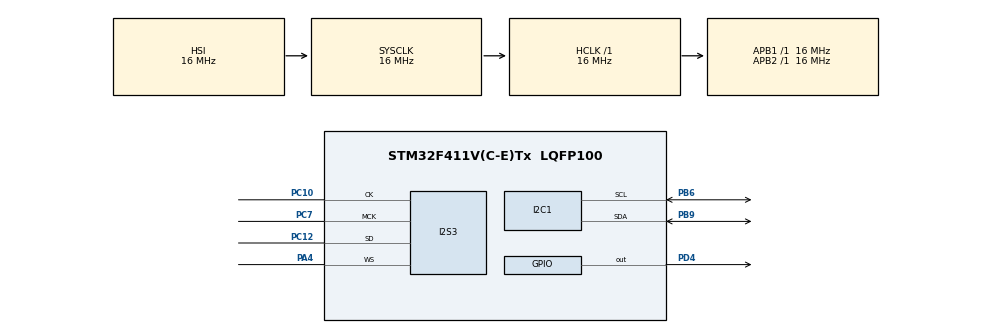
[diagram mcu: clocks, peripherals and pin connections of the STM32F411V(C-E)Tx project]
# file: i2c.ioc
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Dma.Request0=SPI3_TX
Dma.SPI3_TX.0.Direction=DMA_MEMORY_TO_PERIPH
Dma.SPI3_TX.0.FIFOMode=DMA_FIFOMODE_ENABLE
Dma.SPI3_TX.0.FIFOThreshold=DMA_FIFO_THRESHOLD_FULL
Dma.SPI3_TX.0.Instance=DMA1_Stream5
Dma.SPI3_TX.0.MemBurst=DMA_MBURST_SINGLE
Dma.SPI3_TX.0.MemDataAlignment=DMA_MDATAALIGN_HALFWORD
Dma.SPI3_TX.0.MemInc=DMA_MINC_ENABLE
Dma.SPI3_TX.0.Mode=DMA_CIRCULAR
Dma.SPI3_TX.0.PeriphBurst=DMA_PBURST_SINGLE
Dma.SPI3_TX.0.PeriphDataAlignment=DMA_PDATAALIGN_HALFWORD
Dma.SPI3_TX.0.PeriphInc=DMA_PINC_DISABLE
Dma.SPI3_TX.0.Priority=DMA_PRIORITY_LOW
I2S3.AudioFreq=I2S_AUDIOFREQ_48K
I2S3.ErrorAudioFreq=-2.34 %
I2S3.FullDuplexMode=I2S_FULLDUPLEXMODE_DISABLE
I2S3.Instance=SPI$Index
I2S3.RealAudioFreq=46.875 KHz
I2S3.VirtualMode=I2S_MODE_MASTER
Mcu.Family=STM32F4
Mcu.Name=STM32F411V(C-E)Tx
Mcu.Package=LQFP100
NVIC.DMA1_Stream5_IRQn=true\:0\:0\:false\:false\:true\:false\:true\:true
NVIC.PriorityGroup=NVIC_PRIORITYGROUP_4
PA4.Mode=Half_Duplex_Master
PA4.Signal=I2S3_WS
PB6.Mode=I2C
PB6.Signal=I2C1_SCL
PB9.Mode=I2C
PB9.Signal=I2C1_SDA
PC10.Mode=Half_Duplex_Master
PC10.Signal=I2S3_CK
PC12.Mode=Half_Duplex_Master
PC12.Signal=I2S3_SD
PC7.Mode=Master_Clock_Activated
PC7.Signal=I2S3_MCK
PD4.Signal=GPIO_Output
ProjectManager.HeapSize=0x200
ProjectManager.StackSize=0x400
ProjectManager.TargetToolchain=STM32CubeIDE
RCC.AHBFreq_Value=16000000
RCC.APB1Freq_Value=16000000
RCC.APB2Freq_Value=16000000
RCC.CortexFreq_Value=16000000
RCC.HSE_VALUE=25000000
RCC.HSI_VALUE=16000000
RCC.LSE_VALUE=32768
RCC.SYSCLKFreq_VALUE=16000000
RCC.VCOOutputFreq_Value=192000000
board=custom

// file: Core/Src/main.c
/* USER CODE BEGIN Header */
/**
  ******************************************************************************
  * @file           : main.c
  * @brief          : Main program body
  ******************************************************************************
  * @attention
  *
  * Copyright (c) 2023 STMicroelectronics.
  * All rights reserved.
  *
  * This software is licensed under terms that can be found in the LICENSE file
  * in the root directory of this software component.
  * If no LICENSE file comes with this software, it is provided AS-IS.
  *
  ******************************************************************************
  */
/* USER CODE END Header */
#include "main.h"

/* USER CODE BEGIN PTD */
typedef enum
{
	C5,
		D5,
		E5,
		F5,
		G5,
		A5,
		B5,
		C6,
		D6,
		E6,
		F6,
		G6,
		A6,
		B6,
		MAX_VALUE
} soundToneType;

/* USER CODE END PTD */

/* USER CODE BEGIN PD */
#define CS43L22_I2C_ADDRESS	0X94
#define I2C_TIMEOUT 10

/* USER CODE END PD */

I2C_HandleTypeDef hi2c1;

I2S_HandleTypeDef hi2s3;
DMA_HandleTypeDef hdma_spi3_tx;

/* USER CODE BEGIN PV */

int16_t dataI2S[100] = {0};

/* USER CODE END PV */

void SystemClock_Config(void);
static void MX_GPIO_Init(void);
static void MX_DMA_Init(void);
static void MX_I2C1_Init(void);
static void MX_I2S3_Init(void);

/* USER CODE BEGIN 0 */
void CS43L22_Init(void){

	HAL_GPIO_WritePin(GPIOD, GPIO_PIN_4, GPIO_PIN_SET);

	uint8_t TxBuffer[2];

	TxBuffer[0] = 0X0D;
	TxBuffer[1] = 0x01;
	HAL_I2C_Master_Transmit(&hi2c1, CS43L22_I2C_ADDRESS, (uint8_t*) &TxBuffer, 2, I2C_TIMEOUT);

	TxBuffer[0] = 0x00;
	TxBuffer[1] = 0x99;
	HAL_I2C_Master_Transmit(&hi2c1, CS43L22_I2C_ADDRESS, (uint8_t*) &TxBuffer, 2, I2C_TIMEOUT);

	TxBuffer[0] = 0x47;
	TxBuffer[1] = 0x80;
	HAL_I2C_Master_Transmit(&hi2c1, CS43L22_I2C_ADDRESS, (uint8_t*) &TxBuffer, 2, I2C_TIMEOUT);

	TxBuffer[0] = 0x32;
	TxBuffer[1] = 0xFF;
	HAL_I2C_Master_Transmit(&hi2c1, CS43L22_I2C_ADDRESS, (uint8_t*) &TxBuffer, 2, I2C_TIMEOUT);

	TxBuffer[0] = 0x32;
	TxBuffer[1] = 0x7F;
	HAL_I2C_Master_Transmit(&hi2c1, CS43L22_I2C_ADDRESS, (uint8_t*) &TxBuffer, 2, I2C_TIMEOUT);

	TxBuffer[0] = 0x00;
	TxBuffer[1] = 0x00;
	HAL_I2C_Master_Transmit(&hi2c1, CS43L22_I2C_ADDRESS, (uint8_t*) &TxBuffer, 2, I2C_TIMEOUT);

	TxBuffer[0] = 0x04;
	TxBuffer[1] = 0xAF;
	HAL_I2C_Master_Transmit(&hi2c1, CS43L22_I2C_ADDRESS, (uint8_t*) &TxBuffer, 2, I2C_TIMEOUT);

	TxBuffer[0] = 0x0D;
	TxBuffer[1] = 0x70;
	HAL_I2C_Master_Transmit(&hi2c1, CS43L22_I2C_ADDRESS, (uint8_t*) &TxBuffer, 2, I2C_TIMEOUT);

	TxBuffer[0] = 0x05;
	TxBuffer[1] = 0x81;
	HAL_I2C_Master_Transmit(&hi2c1, CS43L22_I2C_ADDRESS, (uint8_t*) &TxBuffer, 2, I2C_TIMEOUT);

	TxBuffer[0] = 0x06;
	TxBuffer[1] = 0x07;
	HAL_I2C_Master_Transmit(&hi2c1, CS43L22_I2C_ADDRESS, (uint8_t*) &TxBuffer, 2, I2C_TIMEOUT);

	TxBuffer[0] = 0x0A;
	TxBuffer[1] = 0x00;
	HAL_I2C_Master_Transmit(&hi2c1, CS43L22_I2C_ADDRESS, (uint8_t*) &TxBuffer, 2, I2C_TIMEOUT);

	TxBuffer[0] = 0x27;
	TxBuffer[1] = 0x00;
	HAL_I2C_Master_Transmit(&hi2c1, CS43L22_I2C_ADDRESS, (uint8_t*) &TxBuffer, 2, I2C_TIMEOUT);

	TxBuffer[0] = 0x1A;
	TxBuffer[1] = 0x0A;
	HAL_I2C_Master_Transmit(&hi2c1, CS43L22_I2C_ADDRESS, (uint8_t*) &TxBuffer, 2, I2C_TIMEOUT);

	TxBuffer[0] = 0x1B;
	TxBuffer[1] = 0x0A;
	HAL_I2C_Master_Transmit(&hi2c1, CS43L22_I2C_ADDRESS, (uint8_t*) &TxBuffer, 2, I2C_TIMEOUT);

	TxBuffer[0] = 0x1F;
	TxBuffer[1] = 0x0F;
	HAL_I2C_Master_Transmit(&hi2c1, CS43L22_I2C_ADDRESS, (uint8_t*) &TxBuffer, 2, I2C_TIMEOUT);

	TxBuffer[0] = 0x02;
	TxBuffer[1] = 0x9E;
	HAL_I2C_Master_Transmit(&hi2c1, CS43L22_I2C_ADDRESS, (uint8_t*) &TxBuffer, 2, I2C_TIMEOUT);
}

void CS43L22_Beep(soundToneType pitch, uint32_t duration_ms)
{
	uint8_t TxBuffer[2];

	TxBuffer[0] = 0x1D;
	TxBuffer[1] = 0x00;
	HAL_I2C_Master_Transmit(&hi2c1, CS43L22_I2C_ADDRESS, (uint8_t*) &TxBuffer, 2, I2C_TIMEOUT);

	TxBuffer[0] = 0x1C;
	switch(pitch)
	{
	    case C5:
			TxBuffer[1] = 0x01;
			break;
		case D5:
			TxBuffer[1] = 0x2;
			break;
		case E5:
			TxBuffer[1] = 0x3;
			break;
		case F5:
			TxBuffer[1] = 0x4;
			break;
		case G5:
			TxBuffer[1] = 0x5;
			break;
		case A5:
			TxBuffer[1] = 0x6;
			break;
		case B5:
			TxBuffer[1] = 0x7;
			break;
		case C6:
			TxBuffer[1] = 0x8;
			break;
		case D6:
			TxBuffer[1] = 0x9;
			break;
		case E6:
			TxBuffer[1] = 0xA;
			break;
		case F6:
			TxBuffer[1] = 0xB;
			break;
		case G6:
			TxBuffer[1] = 0xC;
			break;
		case A6:
			TxBuffer[1] = 0xD;
			break;
		case B6:
			TxBuffer[1] = 0xE;
			break;
	}

	HAL_I2C_Master_Transmit(&hi2c1, CS43L22_I2C_ADDRESS, (uint8_t *) &TxBuffer, 2, I2C_TIMEOUT);
	TxBuffer[0] = 0x1E;
	TxBuffer[1] = 0xC0;
	HAL_I2C_Master_Transmit(&hi2c1, CS43L22_I2C_ADDRESS, (uint8_t *) &TxBuffer, 2, I2C_TIMEOUT);

	HAL_Delay(duration_ms);

	TxBuffer[0] = 0x1E;
	TxBuffer[1] = 0x00;
	HAL_I2C_Master_Transmit(&hi2c1, CS43L22_I2C_ADDRESS, (uint8_t *) &TxBuffer, 2, I2C_TIMEOUT);

}
/* USER CODE END 0 */

int main(void)
{

  /* MCU Configuration--------------------------------------------------------*/

  /* Reset of all peripherals, Initializes the Flash interface and the Systick. */
  HAL_Init();

  /* Configure the system clock */
  SystemClock_Config();

  /* Initialize all configured peripherals */
  MX_GPIO_Init();
  MX_DMA_Init();
  MX_I2C1_Init();
  MX_I2S3_Init();
  /* USER CODE BEGIN 2 */
   CS43L22_Init();

    HAL_I2S_Transmit_DMA(&hi2s3, (uint16_t *)dataI2S, 100);
  /* USER CODE END 2 */

  /* Infinite loop */
  while (1)
  {
	      CS43L22_Beep(C5, 600);
	 	  HAL_Delay(500);

	 	  CS43L22_Beep(D5, 800);
	 	  HAL_Delay(500);

	 	  CS43L22_Beep(F5, 1000);
	 	  HAL_Delay(500);

	 	  CS43L22_Beep(G6, 1200);
	 	  HAL_Delay(500);

	 	  CS43L22_Beep(F5, 1000);
	 	  HAL_Delay(500);

	 	  CS43L22_Beep(D5, 800);
	 	  HAL_Delay(500);

	 	  CS43L22_Beep(C5, 600);
	 	  HAL_Delay(500);

  }
}

void SystemClock_Config(void)
{
  RCC_OscInitTypeDef RCC_OscInitStruct = {0};
  RCC_ClkInitTypeDef RCC_ClkInitStruct = {0};

  /** Macro to configure the PLL multiplication factor
  */
  __HAL_RCC_PLL_PLLM_CONFIG(16);

  /** Macro to configure the PLL clock source
  */
  __HAL_RCC_PLL_PLLSOURCE_CONFIG(RCC_PLLSOURCE_HSI);

  /** Configure the main internal regulator output voltage
  */
  __HAL_RCC_PWR_CLK_ENABLE();
  __HAL_PWR_VOLTAGESCALING_CONFIG(PWR_REGULATOR_VOLTAGE_SCALE1);

  /** Initializes the RCC Oscillators according to the specified parameters
  * in the RCC_OscInitTypeDef structure.
  */
  RCC_OscInitStruct.OscillatorType = RCC_OSCILLATORTYPE_HSI;
  RCC_OscInitStruct.HSIState = RCC_HSI_ON;
  RCC_OscInitStruct.HSICalibrationValue = RCC_HSICALIBRATION_DEFAULT;
  RCC_OscInitStruct.PLL.PLLState = RCC_PLL_NONE;
  RCC_OscInitStruct.PLL.PLLSource = RCC_PLLSOURCE_HSI;
  if (HAL_RCC_OscConfig(&RCC_OscInitStruct) != HAL_OK)
  {
    Error_Handler();
  }

  /** Initializes the CPU, AHB and APB buses clocks
  */
  RCC_ClkInitStruct.ClockType = RCC_CLOCKTYPE_HCLK|RCC_CLOCKTYPE_SYSCLK
                              |RCC_CLOCKTYPE_PCLK1|RCC_CLOCKTYPE_PCLK2;
  RCC_ClkInitStruct.SYSCLKSource = RCC_SYSCLKSOURCE_HSI;
  RCC_ClkInitStruct.AHBCLKDivider = RCC_SYSCLK_DIV1;
  RCC_ClkInitStruct.APB1CLKDivider = RCC_HCLK_DIV1;
  RCC_ClkInitStruct.APB2CLKDivider = RCC_HCLK_DIV1;

  if (HAL_RCC_ClockConfig(&RCC_ClkInitStruct, FLASH_LATENCY_0) != HAL_OK)
  {
    Error_Handler();
  }
}

static void MX_I2C1_Init(void)
{

  hi2c1.Instance = I2C1;
  hi2c1.Init.ClockSpeed = 100000;
  hi2c1.Init.DutyCycle = I2C_DUTYCYCLE_2;
  hi2c1.Init.OwnAddress1 = 0;
  hi2c1.Init.AddressingMode = I2C_ADDRESSINGMODE_7BIT;
  hi2c1.Init.DualAddressMode = I2C_DUALADDRESS_DISABLE;
  hi2c1.Init.OwnAddress2 = 0;
  hi2c1.Init.GeneralCallMode = I2C_GENERALCALL_DISABLE;
  hi2c1.Init.NoStretchMode = I2C_NOSTRETCH_DISABLE;
  if (HAL_I2C_Init(&hi2c1) != HAL_OK)
  {
    Error_Handler();
  }

}

static void MX_I2S3_Init(void)
{

  hi2s3.Instance = SPI3;
  hi2s3.Init.Mode = I2S_MODE_MASTER_TX;
  hi2s3.Init.Standard = I2S_STANDARD_PHILIPS;
  hi2s3.Init.DataFormat = I2S_DATAFORMAT_16B;
  hi2s3.Init.MCLKOutput = I2S_MCLKOUTPUT_ENABLE;
  hi2s3.Init.AudioFreq = I2S_AUDIOFREQ_48K;
  hi2s3.Init.CPOL = I2S_CPOL_LOW;
  hi2s3.Init.ClockSource = I2S_CLOCK_PLL;
  hi2s3.Init.FullDuplexMode = I2S_FULLDUPLEXMODE_DISABLE;
  if (HAL_I2S_Init(&hi2s3) != HAL_OK)
  {
    Error_Handler();
  }

}

static void MX_DMA_Init(void)
{

  /* DMA controller clock enable */
  __HAL_RCC_DMA1_CLK_ENABLE();

  /* DMA interrupt init */
  /* DMA1_Stream5_IRQn interrupt configuration */
  HAL_NVIC_SetPriority(DMA1_Stream5_IRQn, 0, 0);
  HAL_NVIC_EnableIRQ(DMA1_Stream5_IRQn);

}

static void MX_GPIO_Init(void)
{
  GPIO_InitTypeDef GPIO_InitStruct = {0};

  /* GPIO Ports Clock Enable */
  __HAL_RCC_GPIOA_CLK_ENABLE();
  __HAL_RCC_GPIOC_CLK_ENABLE();
  __HAL_RCC_GPIOD_CLK_ENABLE();
  __HAL_RCC_GPIOB_CLK_ENABLE();

  /*Configure GPIO pin Output Level */
  HAL_GPIO_WritePin(GPIOD, GPIO_PIN_4, GPIO_PIN_RESET);

  /*Configure GPIO pin : PD4 */
  GPIO_InitStruct.Pin = GPIO_PIN_4;
  GPIO_InitStruct.Mode = GPIO_MODE_OUTPUT_PP;
  GPIO_InitStruct.Pull = GPIO_NOPULL;
  GPIO_InitStruct.Speed = GPIO_SPEED_FREQ_LOW;
  HAL_GPIO_Init(GPIOD, &GPIO_InitStruct);

}

void Error_Handler(void)
{
  __disable_irq();
  while (1)
  {
  }
}
